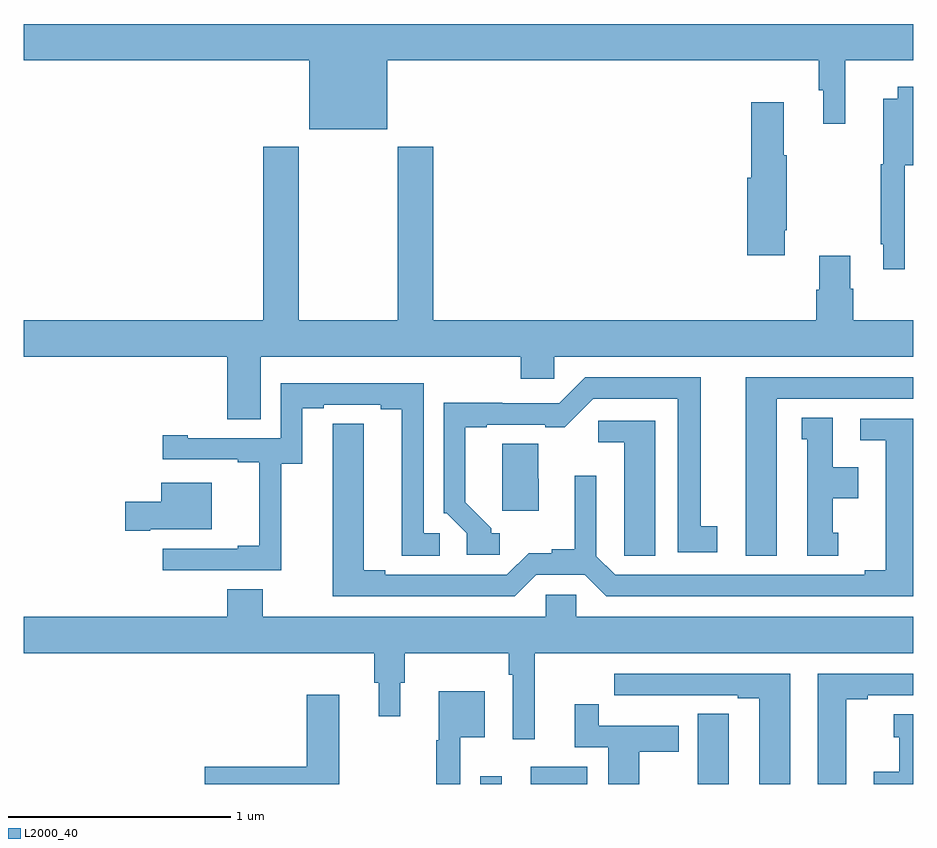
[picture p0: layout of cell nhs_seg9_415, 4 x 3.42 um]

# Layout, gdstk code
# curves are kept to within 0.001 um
import gdstk
lib = gdstk.Library(unit=1e-6, precision=1e-09)
def R(c, l, rs):  # rectangles x0, y0, x1, y1
    for r in rs: c.add(gdstk.rectangle(r[:2], r[2:], *l))
def P(c, l, *ps):  # polygons
    for p in ps: c.add(gdstk.Polygon(p, *l))
L2000_40 = (2000, 40)

nhs_seg9_415 = lib.new_cell('nhs_seg9_415')
R(nhs_seg9_415, L2000_40, [(133.053,1194.5,133.15,1194.535), (133.28,1194.5,133.534,1194.577)])
P(nhs_seg9_415, L2000_40, [(132.634,1197.752),(134.575,1197.752),(134.575,1197.618),(134.594,1197.618),(134.594,1197.468),(134.694,1197.468),(134.694,1197.752),(135,1197.752),(135,1197.916),(131,1197.916),(131,1197.752),(132.284,1197.752),(132.284,1197.443),(132.634,1197.443)],
  [(134.961,1197.281),(135,1197.281),(135,1197.634),(134.93,1197.634),(134.93,1197.58),(134.864,1197.58),(134.864,1197.285),(134.853,1197.285),(134.853,1196.926),(134.864,1196.926),(134.864,1196.814),(134.961,1196.814)],
  [(134.422,1196.989),(134.43,1196.989),(134.43,1197.325),(134.416,1197.325),(134.416,1197.565),(134.27,1197.565),(134.27,1197.225),(134.252,1197.225),(134.252,1196.877),(134.422,1196.877)],
  [(133.235,1196.322),(133.386,1196.322),(133.386,1196.42),(135,1196.42),(135,1196.584),(134.729,1196.584),(134.729,1196.726),(134.716,1196.726),(134.716,1196.875),(134.576,1196.875),(134.576,1196.721),(134.564,1196.721),(134.564,1196.584),(132.842,1196.584),(132.842,1197.364),(132.682,1197.364),(132.682,1196.584),(132.237,1196.584),(132.237,1197.364),(132.077,1197.364),(132.077,1196.584),(131,1196.584),(131,1196.42),(131.915,1196.42),(131.915,1196.14),(132.067,1196.14),(132.067,1196.42),(133.235,1196.42)],
  [(133.141,1195.626),(133.102,1195.626),(133.102,1195.65),(132.985,1195.766),(132.985,1196.103),(133.081,1196.103),(133.081,1196.115),(133.346,1196.115),(133.346,1196.104),(133.432,1196.104),(133.56,1196.232),(133.94,1196.232),(133.94,1195.542),(134.119,1195.542),(134.119,1195.658),(134.044,1195.658),(134.044,1196.328),(133.524,1196.328),(133.407,1196.211),(133.151,1196.211),(133.151,1196.213),(132.888,1196.213),(132.888,1195.716),(132.903,1195.716),(132.993,1195.626),(132.993,1195.53),(133.141,1195.53)],
  [(134.386,1196.232),(135,1196.232),(135,1196.328),(134.246,1196.328),(134.246,1195.527),(134.386,1195.527)],
  [(132.159,1195.939),(132.253,1195.939),(132.253,1196.19),(132.349,1196.19),(132.349,1196.205),(132.605,1196.205),(132.605,1196.185),(132.701,1196.185),(132.701,1195.525),(132.871,1195.525),(132.871,1195.626),(132.798,1195.626),(132.798,1196.301),(132.156,1196.301),(132.156,1196.055),(131.737,1196.055),(131.737,1196.068),(131.625,1196.068),(131.625,1195.959),(131.963,1195.959),(131.963,1195.947),(132.059,1195.947),(132.059,1195.57),(131.963,1195.57),(131.963,1195.557),(131.625,1195.557),(131.625,1195.461),(132.159,1195.461)],
  [(134.662,1195.629),(134.638,1195.629),(134.638,1195.784),(134.752,1195.784),(134.752,1195.924),(134.638,1195.924),(134.638,1196.147),(134.498,1196.147),(134.498,1196.049),(134.522,1196.049),(134.522,1195.527),(134.662,1195.527)],
  [(133.305,1195.44),(133.523,1195.44),(133.619,1195.344),(135,1195.344),(135,1196.142),(134.76,1196.142),(134.76,1196.046),(134.876,1196.046),(134.876,1195.46),(134.78,1195.46),(134.78,1195.44),(133.659,1195.44),(133.575,1195.524),(133.575,1195.885),(133.478,1195.885),(133.478,1195.556),(133.374,1195.556),(133.374,1195.538),(133.271,1195.538),(133.173,1195.44),(132.625,1195.44),(132.625,1195.46),(132.529,1195.46),(132.529,1196.12),(132.39,1196.12),(132.389,1195.344),(133.209,1195.344)],
  [(133.84,1196.133),(133.584,1196.133),(133.584,1196.036),(133.7,1196.036),(133.7,1195.633),(133.701,1195.633),(133.701,1195.525),(133.84,1195.525)],
  [(133.315,1195.872),(133.314,1195.872),(133.314,1196.03),(133.151,1196.03),(133.151,1195.728),(133.315,1195.728)],
  [(131.569,1195.646),(131.845,1195.646),(131.845,1195.855),(131.618,1195.855),(131.618,1195.768),(131.457,1195.768),(131.457,1195.639),(131.569,1195.639)],
  [(133.298,1195.088),(135,1195.088),(135,1195.252),(133.485,1195.252),(133.485,1195.35),(133.347,1195.35),(133.347,1195.252),(132.075,1195.252),(132.075,1195.376),(131.915,1195.376),(131.915,1195.252),(131,1195.252),(131,1195.088),(132.577,1195.088),(132.577,1194.954),(132.596,1194.954),(132.596,1194.804),(132.694,1194.804),(132.694,1194.954),(132.713,1194.954),(132.713,1195.088),(133.18,1195.088),(133.18,1194.992),(133.2,1194.992),(133.2,1194.702),(133.298,1194.702)],
  [(134.446,1194.996),(133.656,1194.996),(133.656,1194.9),(133.768,1194.9),(133.768,1194.899),(133.934,1194.899),(133.934,1194.9),(134.21,1194.9),(134.21,1194.885),(134.306,1194.885),(134.306,1194.5),(134.446,1194.5)],
  [(134.698,1194.88),(134.794,1194.88),(134.794,1194.9),(135,1194.9),(135,1194.996),(134.57,1194.996),(134.57,1194.5),(134.698,1194.5)],
  [(132.963,1194.71),(133.072,1194.71),(133.072,1194.916),(132.866,1194.916),(132.866,1194.696),(132.855,1194.696),(132.855,1194.5),(132.963,1194.5)],
  [(132.418,1194.901),(132.272,1194.901),(132.272,1194.578),(131.814,1194.578),(131.814,1194.5),(132.418,1194.5)],
  [(133.768,1194.646),(133.945,1194.646),(133.945,1194.762),(133.586,1194.762),(133.586,1194.859),(133.478,1194.859),(133.478,1194.666),(133.628,1194.666),(133.628,1194.5),(133.768,1194.5)],
  [(134.17,1194.707),(134.169,1194.707),(134.169,1194.815),(134.03,1194.815),(134.03,1194.5),(134.17,1194.5)],
  [(135,1194.814),(134.912,1194.814),(134.912,1194.711),(134.936,1194.711),(134.936,1194.556),(134.822,1194.556),(134.822,1194.5),(135,1194.5)])

lib.write_gds('nhs_seg9_415.gds')
